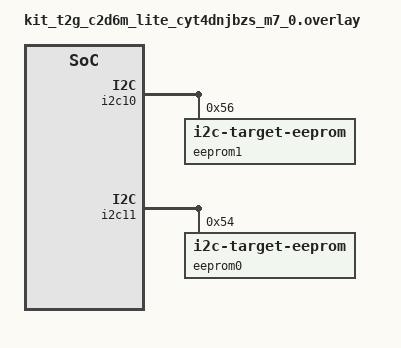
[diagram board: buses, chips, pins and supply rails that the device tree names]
/*
 * SPDX-FileCopyrightText: Copyright (c) 2026 Linumiz
 *
 * SPDX-License-Identifier: Apache-2.0
 */

&i2c10 {
	status = "okay";

	eeprom1: eeprom@56 {
		compatible = "zephyr,i2c-target-eeprom";
		reg = <0x56>;
		size = <256>;
	};
};

&i2c11 {
	eeprom0: eeprom@54 {
		compatible = "zephyr,i2c-target-eeprom";
		reg = <0x54>;
		size = <256>;
	};
};
